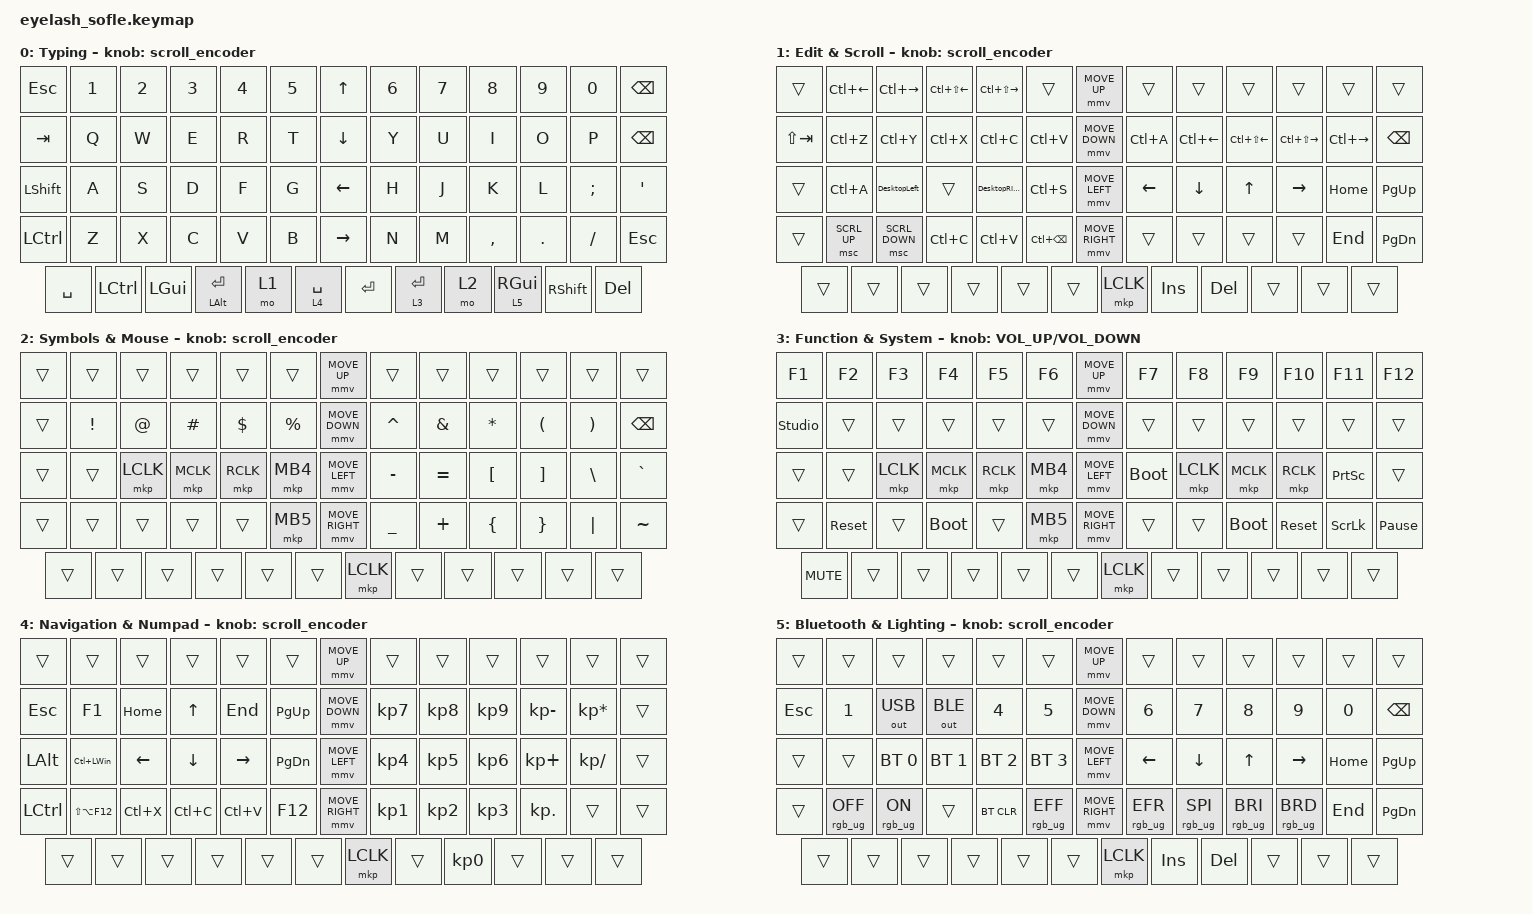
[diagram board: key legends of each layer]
// Adapted from bookie/eyelash-corne (keymap blob 0a8e407aa51123345cd75b72d7b82302b395d314).
// Corne typing rows retain their relative positions; hold left Space for Navigation & Numpad, adjacent thumb for Edit & Scroll.
// Sofle extras: number row, outer Ctrl/GUI thumbs, right Shift/Delete thumbs.
// Left knob: scroll on most layers, volume on Fn; knob press: Space (Fn: mute).
#define ZMK_POINTING_DEFAULT_MOVE_VAL 1200  // 600
#define ZMK_POINTING_DEFAULT_SCRL_VAL 25   // 10

#include <input/processors.dtsi>
#include <zephyr/dt-bindings/input/input-event-codes.h>
#include <behaviors.dtsi>
#include <dt-bindings/zmk/bt.h>
#include <dt-bindings/zmk/keys.h>
#include <dt-bindings/zmk/outputs.h>
#include <dt-bindings/zmk/pointing.h>
#include <dt-bindings/zmk/rgb.h>

&mmv_input_listener { input-processors = <&zip_xy_scaler 2 1>; };

&msc_input_listener { input-processors = <&zip_scroll_scaler 2 1>; };

&msc {
    acceleration-exponent = <1>;      // 0
    time-to-max-speed-ms = <100>;       // 300
    delay-ms = <0>;                   // 0
};

&mmv {
    time-to-max-speed-ms = <500>;
    acceleration-exponent = <1>;
    trigger-period-ms = <16>;
};

&soft_off { hold-time-ms = <2000>; };

/ {
    macros {
        mo_rgb2: mo_rgb2 {
            compatible = "zmk,behavior-macro";
            #binding-cells = <0>;
            wait-ms = <0>;
            tap-ms = <0>;
            bindings =
                <&macro_press>,
                <&mo 2>,
                <&macro_tap>,
                <&rgb_ug RGB_COLOR_HSB(300,100,100)>,
                <&macro_pause_for_release>,
                <&macro_release>,
                <&mo 2>,
                <&macro_tap>,
                <&rgb_ug RGB_COLOR_HSB(128,100,1)>;
        };

        mo_rgb3: mo_rgb3 {
            compatible = "zmk,behavior-macro";
            #binding-cells = <0>;
            wait-ms = <0>;
            tap-ms = <0>;
            bindings =
                <&macro_press>,
                <&mo 3>,
                <&macro_tap>,
                <&rgb_ug RGB_COLOR_HSB(180,100,100)>,
                <&macro_pause_for_release>,
                <&macro_release>,
                <&mo 3>,
                <&macro_tap>,
                <&rgb_ug RGB_COLOR_HSB(128,100,1)>;
        };

        mo_rgb4: mo_rgb4 {
            compatible = "zmk,behavior-macro";
            #binding-cells = <0>;
            wait-ms = <0>;
            tap-ms = <0>;
            bindings =
                <&macro_press>,
                <&mo 4>,
                <&macro_tap>,
                <&rgb_ug RGB_COLOR_HSB(30,100,100)>,
                <&macro_pause_for_release>,
                <&macro_release>,
                <&mo 4>,
                <&macro_tap>,
                <&rgb_ug RGB_COLOR_HSB(128,100,1)>;
        };

        DesktopRIght: DesktopRIght {
            compatible = "zmk,behavior-macro";
            #binding-cells = <0>;
            bindings =
                <&macro_press>,
                <&kp LEFT_CONTROL &kp LEFT_GUI>,
                <&macro_tap>,
                <&kp RIGHT_ARROW>,
                <&macro_release>,
                <&kp LEFT_CONTROL &kp LEFT_GUI>;

            label = "DESKTOPRIGHT";
        };

        DesktopLeft: DesktopLeft {
            compatible = "zmk,behavior-macro";
            #binding-cells = <0>;
            bindings =
                <&macro_press>,
                <&kp LEFT_CONTROL &kp LEFT_GUI>,
                <&macro_tap>,
                <&kp LEFT_ARROW>,
                <&macro_release>,
                <&kp LEFT_CONTROL &kp LEFT_GUI>;

            label = "DESKTOPLEFT";
        };
    };

    behaviors {
        lt_rgb2: lt_rgb2 {
            compatible = "zmk,behavior-hold-tap";
            label = "LAYER_TAP_RGB_2";
            #binding-cells = <2>;
            tapping-term-ms = <200>;
            quick-tap-ms = <125>;
            flavor = "balanced";
            bindings = <&mo_rgb2>, <&kp>;
        };

        lt_rgb3: lt_rgb3 {
            compatible = "zmk,behavior-hold-tap";
            label = "LAYER_TAP_RGB_3";
            #binding-cells = <2>;
            tapping-term-ms = <200>;
            quick-tap-ms = <125>;
            flavor = "balanced";
            bindings = <&mo_rgb3>, <&kp>;
        };

        lt_rgb4: lt_rgb4 {
            compatible = "zmk,behavior-hold-tap";
            label = "LAYER_TAP_RGB_4";
            #binding-cells = <2>;
            tapping-term-ms = <200>;
            quick-tap-ms = <125>;
            flavor = "balanced";
            bindings = <&mo_rgb4>, <&kp>;
        };

        td0: td0 {
            compatible = "zmk,behavior-tap-dance";
            display-name = "Shift/Caps Lock Tap Dance";
            #binding-cells = <0>;
            bindings = <&kp LEFT_SHIFT>, <&kp CAPS>;
        };

        td_tab_esc: td_tab_esc {
            compatible = "zmk,behavior-tap-dance";
            display-name = "Shift/Caps Lock Tap Dance";
            #binding-cells = <0>;
            bindings = <&kp TAB>, <&kp ESCAPE>;

            label = "TD_TAB_ESC";
        };

        HRMRight: HRMRight {
            compatible = "zmk,behavior-hold-tap";
            label = "HRMRIGHT";
            bindings = <&kp>, <&kp>;

            #binding-cells = <2>;
            tapping-term-ms = <300>;
            flavor = "tap-preferred";
            hold-trigger-key-positions = <0 1 2 3 4 5 13 14 15 16 17 18 26 27 28 29 30 31 39 40 41 42 43 44 52 53 54 55 56 57>;
            hold-trigger-on-release;
        };

        HRMLeft: HRMLeft {
            compatible = "zmk,behavior-hold-tap";
            label = "HRMLEFT";
            bindings = <&kp>, <&kp>;

            #binding-cells = <2>;
            tapping-term-ms = <300>;
            flavor = "tap-preferred";
            hold-trigger-on-release;
            hold-trigger-key-positions = <7 8 9 10 11 12 20 21 22 23 24 25 33 34 35 36 37 38 46 47 48 49 50 51 59 60 61 62 63>;
        };
    };

    rgb_encoder: rgb_encoder {
        compatible = "zmk,behavior-sensor-rotate";
        #sensor-binding-cells = <0>;
        bindings = <&rgb_ug RGB_BRI>, <&rgb_ug RGB_BRD>;
    };

    scroll_encoder: scroll_encoder {
        compatible = "zmk,behavior-sensor-rotate";
        #sensor-binding-cells = <0>;
        bindings = <&msc SCRL_DOWN>, <&msc SCRL_UP>;

        tap-ms = <100>;
    };

    combos {
        compatible = "zmk,combos";

        // Bluetooth & Lighting + the two outermost top-row keys clears all Bluetooth profiles.
        combo_clear_pairings {
            timeout-ms = <75>;
            key-positions = <0 12>;
            layers = <5>;
            bindings = <&bt BT_CLR_ALL>;
        };

        softoff {
            bindings = <&soft_off>;
            key-positions = <14 28 40>;
        };
    };

    keymap {
        compatible = "zmk,keymap";

        default_layer {
            display-name = "Typing";
            bindings = <
&kp ESC  &kp N1  &kp N2  &kp N3  &kp N4  &kp N5  &kp UP  &kp N6  &kp N7  &kp N8  &kp N9  &kp N0  &kp BSPC
&kp TAB  &kp Q  &kp W  &kp E  &kp R  &kp T  &kp DOWN  &kp Y  &kp U  &kp I  &kp O  &kp P  &kp BSPC
&kp LSHFT  &kp A  &kp S  &kp D  &kp F  &kp G  &kp LEFT  &kp H  &kp J  &kp K  &kp L  &kp SEMI  &kp SQT
&kp LCTRL  &kp Z  &kp X  &kp C  &kp V  &kp B  &kp RIGHT  &kp N  &kp M  &kp COMMA  &kp DOT  &kp FSLH  &kp ESCAPE
&kp SPACE  &kp LCTRL  &kp LEFT_GUI  &mt LEFT_ALT ENTER  &mo 1  &lt 4 SPACE  &kp ENTER  &lt 3 ENTER  &mo 2  &lt 5 RIGHT_GUI  &kp RIGHT_SHIFT  &kp DELETE
            >;

            sensor-bindings = <&scroll_encoder>;
        };

        lower_layer {
            display-name = "Edit & Scroll";
            bindings = <
&trans  &kp LC(LEFT)  &kp LC(RIGHT)  &kp LC(LS(LEFT))  &kp LC(LS(RIGHT))  &trans  &mmv MOVE_UP  &trans  &trans  &trans  &trans  &trans  &trans
&kp LS(TAB)  &kp LC(Z)  &kp LC(Y)  &kp LC(X)  &kp LC(C)  &kp LC(V)  &mmv MOVE_DOWN  &kp LC(A)  &kp LC(LEFT)  &kp LC(LS(LEFT))  &kp LC(LS(RIGHT))  &kp LC(RIGHT)  &kp BSPC
&trans  &kp LC(A)  &DesktopLeft  &trans  &DesktopRIght  &kp LC(S)  &mmv MOVE_LEFT  &kp LEFT  &kp DOWN  &kp UP  &kp RIGHT  &kp HOME  &kp PG_UP
&trans  &msc SCRL_UP  &msc SCRL_DOWN  &kp LC(C)  &kp LC(V)  &kp LC(BSPC)  &mmv MOVE_RIGHT  &trans  &trans  &trans  &trans  &kp END  &kp PG_DN
&trans  &trans  &trans  &trans  &trans  &trans  &mkp LCLK  &kp INS  &kp DEL  &trans  &trans  &trans
            >;

            sensor-bindings = <&scroll_encoder>;
        };

        raise_layer {
            display-name = "Symbols & Mouse";
            bindings = <
&trans  &trans  &trans  &trans  &trans  &trans  &mmv MOVE_UP  &trans  &trans  &trans  &trans  &trans  &trans
&trans  &kp EXCL  &kp AT  &kp HASH  &kp DLLR  &kp PRCNT  &mmv MOVE_DOWN  &kp CARET  &kp AMPS  &kp ASTRK  &kp LPAR  &kp RPAR  &kp BSPC
&trans  &trans  &mkp LCLK  &mkp MCLK  &mkp RCLK  &mkp MB4  &mmv MOVE_LEFT  &kp MINUS  &kp EQUAL  &kp LBKT  &kp RBKT  &kp BSLH  &kp GRAVE
&trans  &trans  &trans  &trans  &trans  &mkp MB5  &mmv MOVE_RIGHT  &kp UNDER  &kp PLUS  &kp LBRC  &kp RBRC  &kp PIPE  &kp TILDE
&trans  &trans  &trans  &trans  &trans  &trans  &mkp LCLK  &trans  &trans  &trans  &trans  &trans
            >;

            sensor-bindings = <&scroll_encoder>;
        };

        func_layer {
            display-name = "Function & System";
            bindings = <
&kp F1  &kp F2  &kp F3  &kp F4  &kp F5  &kp F6  &mmv MOVE_UP  &kp F7  &kp F8  &kp F9  &kp F10  &kp F11  &kp F12
&studio_unlock  &trans  &trans  &trans  &trans  &trans  &mmv MOVE_DOWN  &trans  &trans  &trans  &trans  &trans  &trans
&trans  &trans  &mkp LCLK  &mkp MCLK  &mkp RCLK  &mkp MB4  &mmv MOVE_LEFT  &bootloader  &mkp LCLK  &mkp MCLK  &mkp RCLK  &kp PRINTSCREEN  &trans
&trans  &sys_reset  &trans  &bootloader  &trans  &mkp MB5  &mmv MOVE_RIGHT  &trans  &trans  &bootloader  &sys_reset  &kp SCROLLLOCK  &kp PAUSE_BREAK
&kp C_MUTE  &trans  &trans  &trans  &trans  &trans  &mkp LCLK  &trans  &trans  &trans  &trans  &trans
            >;

            sensor-bindings = <&inc_dec_kp C_VOLUME_UP C_VOLUME_DOWN>;
        };

        navi_layer {
            display-name = "Navigation & Numpad";
            bindings = <
&trans  &trans  &trans  &trans  &trans  &trans  &mmv MOVE_UP  &trans  &trans  &trans  &trans  &trans  &trans
&kp ESCAPE  &kp F1  &kp HOME  &kp UP_ARROW  &kp END  &kp PAGE_UP  &mmv MOVE_DOWN  &kp KP_NUMBER_7  &kp KP_NUMBER_8  &kp KP_NUMBER_9  &kp KP_MINUS  &kp KP_ASTERISK  &trans
&kp LEFT_ALT  &kp LC(LEFT_WIN)  &kp LEFT_ARROW  &kp DOWN_ARROW  &kp RIGHT_ARROW  &kp PAGE_DOWN  &mmv MOVE_LEFT  &kp KP_NUMBER_4  &kp KP_NUMBER_5  &kp KP_N6  &kp KP_PLUS  &kp KP_DIVIDE  &trans
&kp LEFT_CONTROL  &kp LS(LA(F12))  &kp LC(X)  &kp LC(C)  &kp LC(V)  &kp F12  &mmv MOVE_RIGHT  &kp KP_NUMBER_1  &kp KP_NUMBER_2  &kp KP_N3  &kp KP_DOT  &trans  &trans
&trans  &trans  &trans  &trans  &trans  &trans  &mkp LCLK  &trans  &kp KP_NUMBER_0  &trans  &trans  &trans
            >;

            sensor-bindings = <&scroll_encoder>;
        };

        MISC_LAYER {
            display-name = "Bluetooth & Lighting";
            bindings = <
&trans  &trans  &trans  &trans  &trans  &trans  &mmv MOVE_UP  &trans  &trans  &trans  &trans  &trans  &trans
&kp ESCAPE  &kp N1  &out OUT_USB  &out OUT_BLE  &kp N4  &kp N5  &mmv MOVE_DOWN  &kp N6  &kp N7  &kp N8  &kp N9  &kp N0  &kp BSPC
&trans  &trans  &bt BT_SEL 0  &bt BT_SEL 1  &bt BT_SEL 2  &bt BT_SEL 3  &mmv MOVE_LEFT  &kp LEFT  &kp DOWN  &kp UP  &kp RIGHT  &kp HOME  &kp PG_UP
&trans  &rgb_ug RGB_OFF  &rgb_ug RGB_ON  &trans  &bt BT_CLR  &rgb_ug RGB_EFF  &mmv MOVE_RIGHT  &rgb_ug RGB_EFR  &rgb_ug RGB_SPI  &rgb_ug RGB_BRI  &rgb_ug RGB_BRD  &kp END  &kp PG_DN
&trans  &trans  &trans  &trans  &trans  &trans  &mkp LCLK  &kp INS  &kp DEL  &trans  &trans  &trans
            >;

            sensor-bindings = <&scroll_encoder>;
        };
    };
};
